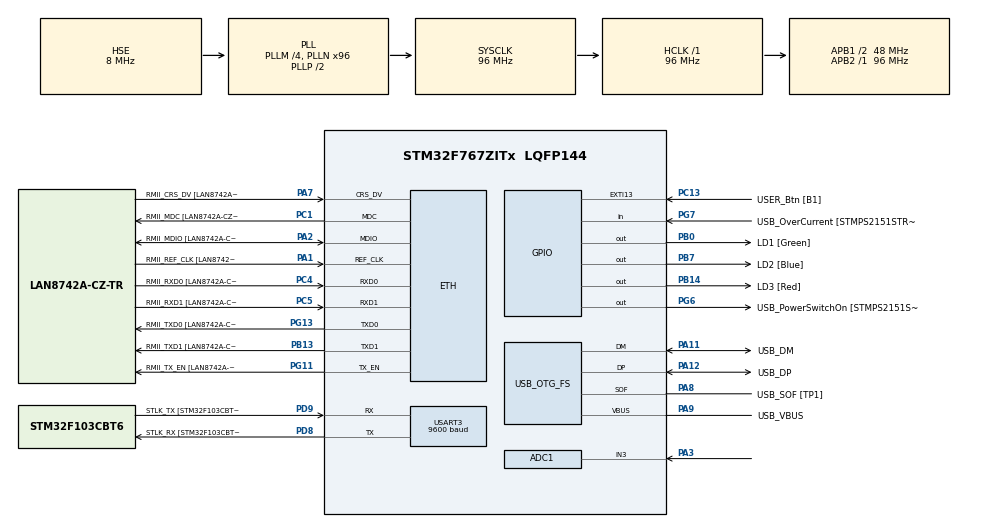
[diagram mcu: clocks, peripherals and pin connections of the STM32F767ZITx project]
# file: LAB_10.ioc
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ADC1.Channel-0\#ChannelRegularConversion=ADC_CHANNEL_3
ADC1.NbrOfConversionFlag=1
ADC1.Rank-0\#ChannelRegularConversion=1
ADC1.SamplingTime-0\#ChannelRegularConversion=ADC_SAMPLETIME_3CYCLES
ADC1.master=1
ARM.CMSIS.5.7.0.CMSISJjCORE=true
ARM.CMSIS.5.7.0.CMSISJjDSP=Library
ETH.MediaInterface=HAL_ETH_RMII_MODE
ETH.PHY_Name=LAN8742A_PHY_ADDRESS
ETH.PHY_Value=0
ETH.PhyAddress=0
Mcu.Family=STM32F7
Mcu.Name=STM32F767ZITx
Mcu.Package=LQFP144
NVIC.ADC_IRQn=true\:0\:0\:false\:false\:true\:true\:true\:true
NVIC.PriorityGroup=NVIC_PRIORITYGROUP_4
PA1.GPIO_Label=RMII_REF_CLK [LAN8742A-CZ-TR_REFCLK0]
PA1.Mode=RMII
PA1.Signal=ETH_REF_CLK
PA10.GPIO_Label=USB_ID
PA10.Signal=USB_OTG_FS_ID
PA11.GPIO_Label=USB_DM
PA11.Mode=Device_Only
PA11.Signal=USB_OTG_FS_DM
PA12.GPIO_Label=USB_DP
PA12.Mode=Device_Only
PA12.Signal=USB_OTG_FS_DP
PA13.GPIO_Label=TMS
PA13.Mode=Serial_Wire
PA13.Signal=SYS_JTMS-SWDIO
PA14.GPIO_Label=TCK
PA14.Mode=Serial_Wire
PA14.Signal=SYS_JTCK-SWCLK
PA2.GPIO_Label=RMII_MDIO [LAN8742A-CZ-TR_MDIO]
PA2.Mode=RMII
PA2.Signal=ETH_MDIO
PA3.Signal=ADCx_IN3
PA7.GPIO_Label=RMII_CRS_DV [LAN8742A-CZ-TR_CRS_DV]
PA7.Mode=RMII
PA7.Signal=ETH_CRS_DV
PA8.GPIO_Label=USB_SOF [TP1]
PA8.Mode=Activate_SOF_FS
PA8.Signal=USB_OTG_FS_SOF
PA9.GPIO_Label=USB_VBUS
PA9.Mode=Activate_VBUS
PA9.Signal=USB_OTG_FS_VBUS
PB0.GPIO_Label=LD1 [Green]
PB0.Signal=GPIO_Output
PB13.GPIO_Label=RMII_TXD1 [LAN8742A-CZ-TR_TXD1]
PB13.Mode=RMII
PB13.Signal=ETH_TXD1
PB14.GPIO_Label=LD3 [Red]
PB14.Signal=GPIO_Output
PB3.GPIO_Label=SWO
PB3.Signal=SYS_JTDO-SWO
PB7.GPIO_Label=LD2 [Blue]
PB7.Signal=GPIO_Output
PC1.GPIO_Label=RMII_MDC [LAN8742A-CZ-TR_MDC]
PC1.Mode=RMII
PC1.Signal=ETH_MDC
PC13.GPIO_Label=USER_Btn [B1]
PC13.Signal=GPXTI13
PC14/OSC32_IN.Mode=LSE-External-Oscillator
PC14/OSC32_IN.Signal=RCC_OSC32_IN
PC15/OSC32_OUT.Mode=LSE-External-Oscillator
PC15/OSC32_OUT.Signal=RCC_OSC32_OUT
PC4.GPIO_Label=RMII_RXD0 [LAN8742A-CZ-TR_RXD0]
PC4.Mode=RMII
PC4.Signal=ETH_RXD0
PC5.GPIO_Label=RMII_RXD1 [LAN8742A-CZ-TR_RXD1]
PC5.Mode=RMII
PC5.Signal=ETH_RXD1
PD8.GPIO_Label=STLK_RX [STM32F103CBT6_PA3]
PD8.Mode=Asynchronous
PD8.Signal=USART3_TX
PD9.GPIO_Label=STLK_TX [STM32F103CBT6_PA2]
PD9.Mode=Asynchronous
PD9.Signal=USART3_RX
PG11.GPIO_Label=RMII_TX_EN [LAN8742A-CZ-TR_TXEN]
PG11.Mode=RMII
PG11.Signal=ETH_TX_EN
PG13.GPIO_Label=RMII_TXD0 [LAN8742A-CZ-TR_TXD0]
PG13.Mode=RMII
PG13.Signal=ETH_TXD0
PG6.GPIO_Label=USB_PowerSwitchOn [STMPS2151STR_EN]
PG6.Signal=GPIO_Output
PG7.GPIO_Label=USB_OverCurrent [STMPS2151STR_FAULT]
PG7.Signal=GPIO_Input
PH0/OSC_IN.GPIO_Label=MCO [STM32F103CBT6_PA8]
PH0/OSC_IN.Mode=HSE-External-Clock-Source
PH0/OSC_IN.Signal=RCC_OSC_IN
PH1/OSC_OUT.Mode=HSE-External-Clock-Source
PH1/OSC_OUT.Signal=RCC_OSC_OUT
ProjectManager.HeapSize=0x200
ProjectManager.StackSize=0x400
ProjectManager.TargetToolchain=STM32CubeIDE
RCC.48MHZClocksFreq_Value=24000000
RCC.AHBFreq_Value=96000000
RCC.APB1CLKDivider=RCC_HCLK_DIV2
RCC.APB1Freq_Value=48000000
RCC.APB1TimFreq_Value=96000000
RCC.APB2Freq_Value=96000000
RCC.APB2TimFreq_Value=96000000
RCC.CortexFreq_Value=96000000
RCC.HCLKFreq_Value=96000000
RCC.HSE_VALUE=8000000
RCC.HSI_VALUE=16000000
RCC.PLLM=4
RCC.PLLMUL=RCC_PLL_MUL9
RCC.PLLN=96
RCC.PLLQ=4
RCC.PRESCALERUSB=RCC_USBCLKSOURCE_PLL_DIV1_5
RCC.SYSCLKFreq_VALUE=96000000
RCC.SYSCLKSource=RCC_SYSCLKSOURCE_PLLCLK
RCC.SYSCLKSourceVirtual=RCC_SYSCLKSOURCE_PLLCLK
RCC.USBFreq_Value=48000000
RCC.VCOOutputFreq_Value=192000000
SH.ADCx_IN3.0=ADC1_IN3,IN3
USART3.BaudRate=9600
USART3.VirtualMode-Asynchronous=VM_ASYNC
USB_OTG_FS.VirtualMode=Device_Only
VP_ARM.CMSIS_VS_CMSISJjCORE_5.4.0_5.7.0.Mode=CMSISJjCORE
VP_ARM.CMSIS_VS_CMSISJjDSP_1.8.0_5.7.0.Mode=CMSISJjDSP
board=NUCLEO-F767ZI

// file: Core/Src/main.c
/* USER CODE BEGIN Header */
/**
 ******************************************************************************
 * @file           : main.c
 * @brief          : Main program body
 ******************************************************************************
 * @attention
 *
 * Copyright (c) 2025 STMicroelectronics.
 * All rights reserved.
 *
 * This software is licensed under terms that can be found in the LICENSE file
 * in the root directory of this software component.
 * If no LICENSE file comes with this software, it is provided AS-IS.
 *
 ******************************************************************************
 */
/* USER CODE END Header */
#include "main.h"
#include "string.h"

/* USER CODE BEGIN Includes */

#include "arm_math.h"
#include <stdio.h>
#include <math.h>

#include "FIR_COEFFS.h"
#include "TEST_SIGNAL.h"
#include "REF_SIGNAL.h"
#include "A_mat.h"
#include "B_mat.h"
#include "C_mat.h"
#include "C_REF_mat.h"

/* USER CODE END Includes */

#if defined ( __ICCARM__ ) /*!< IAR Compiler */
#pragma location=0x2007c000
ETH_DMADescTypeDef  DMARxDscrTab[ETH_RX_DESC_CNT]; /* Ethernet Rx DMA Descriptors */
#pragma location=0x2007c0a0
ETH_DMADescTypeDef  DMATxDscrTab[ETH_TX_DESC_CNT]; /* Ethernet Tx DMA Descriptors */

#elif defined ( __CC_ARM )  /* MDK ARM Compiler */

__attribute__((at(0x2007c000))) ETH_DMADescTypeDef  DMARxDscrTab[ETH_RX_DESC_CNT]; /* Ethernet Rx DMA Descriptors */
__attribute__((at(0x2007c0a0))) ETH_DMADescTypeDef  DMATxDscrTab[ETH_TX_DESC_CNT]; /* Ethernet Tx DMA Descriptors */

#elif defined ( __GNUC__ ) /* GNU Compiler */

ETH_DMADescTypeDef DMARxDscrTab[ETH_RX_DESC_CNT] __attribute__((section(".RxDecripSection"))); /* Ethernet Rx DMA Descriptors */
ETH_DMADescTypeDef DMATxDscrTab[ETH_TX_DESC_CNT] __attribute__((section(".TxDecripSection"))); /* Ethernet Tx DMA Descriptors */
#endif

ETH_TxPacketConfig TxConfig;

ADC_HandleTypeDef hadc1;
DMA_HandleTypeDef hdma_adc1;

ETH_HandleTypeDef heth;

UART_HandleTypeDef huart3;

PCD_HandleTypeDef hpcd_USB_OTG_FS;

/* USER CODE BEGIN PV */
volatile float32_t g_adc_raw = 0.0f;
volatile float32_t g_adc_filtered = 0.0f;
uint32_t adc_raw = 0;
uint32_t adc_mV = 0;
/* USER CODE END PV */

void SystemClock_Config(void);
static void MX_GPIO_Init(void);
static void MX_DMA_Init(void);
static void MX_ETH_Init(void);
static void MX_USART3_UART_Init(void);
static void MX_USB_OTG_FS_PCD_Init(void);
static void MX_ADC1_Init(void);

/* USER CODE BEGIN 0 */

#define ZADANIE 3

#define BLOCK_SIZE 32
#define NUM_TAPS_FIR 55 // As estmated or defined in FIR_COEFFS (length of coeffs)

float32_t RMSE(const float32_t *y, const float32_t *yref, const uint32_t len) {
	float32_t err[len];
	arm_sub_f32(yref, y, err, len);
	float32_t rmse;
	arm_rms_f32(err, len, &rmse);
	return rmse;
}

void UART_SendFloatArrayCSV(UART_HandleTypeDef *huart, float32_t *data, uint32_t length) {
	HAL_UART_Transmit(huart, (uint8_t*) "CSV data:\r\n", 12, HAL_MAX_DELAY);

	for (uint32_t i = 0; i < length; i++) {
		char buf[32];
		float32_t val = data[i];

		// 1. Sprawdź znak i pracuj na wartości bezwzględnej
		char sign = (val < 0) ? '-' : ' ';
		if (val < 0)
			val = -val;

		int whole = (int) val;
		int frac = (int) ((val - whole) * 1000000);

		// Zabezpieczenie przed zaokrągleniami
		if (frac < 0)
			frac = 0;

		// 2. Formatuj z uwzględnieniem znaku ręcznie (używamy %c dla znaku)
		if (sign == '-') {
			sprintf(buf, "-%d.%06d", whole, frac);
		} else {
			sprintf(buf, "%d.%06d", whole, frac);
		}

		if (i < length - 1) {
			strcat(buf, ",\r\n");
		} else {
			strcat(buf, "\r\n");
		}

		HAL_UART_Transmit(huart, (uint8_t*) buf, strlen(buf), HAL_MAX_DELAY);
	}
}
/* USER CODE END 0 */

int main(void) {

	/* MCU Configuration--------------------------------------------------------*/

	/* Reset of all peripherals, Initializes the Flash interface and the Systick. */
	HAL_Init();

	/* Configure the system clock */
	SystemClock_Config();

	/* Initialize all configured peripherals */
	MX_GPIO_Init();
	MX_DMA_Init();
	MX_ETH_Init();
	MX_USART3_UART_Init();
	MX_USB_OTG_FS_PCD_Init();
	MX_ADC1_Init();
	/* USER CODE BEGIN 2 */

#if ZADANIE == 1
	//	inicjacja macierzy z wygenerowanych matlabowo
	arm_mat_init_f32(&A, A_ROWS, A_COLS, A_DATA);
	arm_mat_init_f32(&B, B_ROWS, B_COLS, B_DATA);
	arm_mat_init_f32(&C, A_ROWS, B_COLS, C_DATA);

	//	obliczanie wyniku
	arm_mat_mult_f32(&A, &B, &C);

	//	sprawdzenie wyniku
	float32_t rmse = RMSE(C_DATA, C_REF_DATA, A_ROWS * B_COLS);

	char msg[64];

	int whole = (int) rmse;
	int frac = (int) ((rmse - whole) * 1000000);

	if (rmse < 1e-6f) {
		sprintf(msg, "test passed! rmse = %d.%06d\r\n", whole, frac);
	} else {
		sprintf(msg, "test failed! rmse = %d.%06d\r\n", whole, frac);
	}

	HAL_UART_Transmit(&huart3, (uint8_t*) msg, strlen(msg), HAL_MAX_DELAY);

#endif

#if ZADANIE == 2

	char hello[] = "UART OK\r\n";
	HAL_UART_Transmit(&huart3, (uint8_t*) hello, strlen(hello), HAL_MAX_DELAY);
	HAL_Delay(100);

	static float32_t firState[NUM_TAPS + BLOCK_SIZE - 1];
	static float32_t y_test[SIGNAL_LENGTH];

	arm_fir_instance_f32 S;
	arm_fir_init_f32(&S, NUM_TAPS, FIR_COEFFS, firState, BLOCK_SIZE);

	for (uint32_t i = 0; i < SIGNAL_LENGTH; i += BLOCK_SIZE) {
		uint32_t blkSize = BLOCK_SIZE;
		if (i + blkSize > SIGNAL_LENGTH)
			blkSize = SIGNAL_LENGTH - i;
		arm_fir_f32(&S, &TEST_SIGNAL[i], &y_test[i], blkSize);
	}

	float32_t rmse_fir = RMSE(y_test, REF_SIGNAL, SIGNAL_LENGTH);

	char msg[64];
	int whole_fir = (int) rmse_fir;
	int frac_fir = (int) ((rmse_fir - whole_fir) * 1000000);

	if (rmse_fir < 1e-6f) { // kryterium sukcesu
		sprintf(msg, "FIR test passed! rmse = %d.%06d\r\n", whole_fir, frac_fir);
	} else {
		sprintf(msg, "FIR test failed! rmse = %d.%06d\r\n", whole_fir, frac_fir);
	}

	HAL_UART_Transmit(&huart3, (uint8_t*) msg, strlen(msg), HAL_MAX_DELAY);

	UART_SendFloatArrayCSV(&huart3, y_test, SIGNAL_LENGTH);

#endif

#if ZADANIE == 3

	// Inicjalizacja filtru FIR (wykorzystujemy współczynniki z Zadania 2 - dolnoprzepustowy)
	// Zakładamy próbkowanie ok. 200Hz (HAL_Delay(5)) -> Cutoff ok. 10Hz (przy Fp=0.1 norm, Fs~200)
	// W zadaniu jest, że filtr FIR filtruje próbka po próbce.
	// Rozmiar stanu dla BLOCK_SIZE=1 to: numTaps + blockSize - 1 = numTaps
	static float32_t firStateADC[NUM_TAPS];
	arm_fir_instance_f32 S_ADC;
	arm_fir_init_f32(&S_ADC, NUM_TAPS, FIR_COEFFS, firStateADC, 1);

	// HAL_ADC_Start(&hadc1); // Przeniesione do pętli dla trybu One-Shot

#endif

	/* USER CODE END 2 */

	/* Infinite loop */
	/* USER CODE BEGIN WHILE */

	while (1) {
#if ZADANIE == 3
		HAL_ADC_Start(&hadc1);

		HAL_ADC_PollForConversion(&hadc1, HAL_MAX_DELAY);

		adc_raw = HAL_ADC_GetValue(&hadc1);
		adc_mV = (adc_raw * 3300) / 4095;

		g_adc_raw = (float32_t)adc_raw;

		// Filtracja próbka po próbce
		arm_fir_f32(&S_ADC, (float32_t*)&g_adc_raw, (float32_t*)&g_adc_filtered, 1);

		HAL_Delay(5);
#endif
    /* USER CODE END WHILE */

	}
}

void SystemClock_Config(void) {
	RCC_OscInitTypeDef RCC_OscInitStruct = { 0 };
	RCC_ClkInitTypeDef RCC_ClkInitStruct = { 0 };

	/** Configure LSE Drive Capability
	 */
	HAL_PWR_EnableBkUpAccess();

	/** Configure the main internal regulator output voltage
	 */
	__HAL_RCC_PWR_CLK_ENABLE();
	__HAL_PWR_VOLTAGESCALING_CONFIG(PWR_REGULATOR_VOLTAGE_SCALE3);

	/** Initializes the RCC Oscillators according to the specified parameters
	 * in the RCC_OscInitTypeDef structure.
	 */
	RCC_OscInitStruct.OscillatorType = RCC_OSCILLATORTYPE_HSE;
	RCC_OscInitStruct.HSEState = RCC_HSE_BYPASS;
	RCC_OscInitStruct.PLL.PLLState = RCC_PLL_ON;
	RCC_OscInitStruct.PLL.PLLSource = RCC_PLLSOURCE_HSE;
	RCC_OscInitStruct.PLL.PLLM = 4;
	RCC_OscInitStruct.PLL.PLLN = 96;
	RCC_OscInitStruct.PLL.PLLP = RCC_PLLP_DIV2;
	RCC_OscInitStruct.PLL.PLLQ = 4;
	RCC_OscInitStruct.PLL.PLLR = 2;
	if (HAL_RCC_OscConfig(&RCC_OscInitStruct) != HAL_OK) {
		Error_Handler();
	}

	/** Activate the Over-Drive mode
	 */
	if (HAL_PWREx_EnableOverDrive() != HAL_OK) {
		Error_Handler();
	}

	/** Initializes the CPU, AHB and APB buses clocks
	 */
	RCC_ClkInitStruct.ClockType = RCC_CLOCKTYPE_HCLK | RCC_CLOCKTYPE_SYSCLK | RCC_CLOCKTYPE_PCLK1 | RCC_CLOCKTYPE_PCLK2;
	RCC_ClkInitStruct.SYSCLKSource = RCC_SYSCLKSOURCE_PLLCLK;
	RCC_ClkInitStruct.AHBCLKDivider = RCC_SYSCLK_DIV1;
	RCC_ClkInitStruct.APB1CLKDivider = RCC_HCLK_DIV2;
	RCC_ClkInitStruct.APB2CLKDivider = RCC_HCLK_DIV1;

	if (HAL_RCC_ClockConfig(&RCC_ClkInitStruct, FLASH_LATENCY_3) != HAL_OK) {
		Error_Handler();
	}
}

static void MX_ADC1_Init(void) {

	ADC_ChannelConfTypeDef sConfig = { 0 };

	/** Configure the global features of the ADC (Clock, Resolution, Data Alignment and number of conversion)
	 */
	hadc1.Instance = ADC1;
	hadc1.Init.ClockPrescaler = ADC_CLOCK_SYNC_PCLK_DIV4;
	hadc1.Init.Resolution = ADC_RESOLUTION_12B;
	hadc1.Init.ScanConvMode = ADC_SCAN_DISABLE;
	hadc1.Init.ContinuousConvMode = DISABLE;
	hadc1.Init.DiscontinuousConvMode = DISABLE;
	hadc1.Init.ExternalTrigConvEdge = ADC_EXTERNALTRIGCONVEDGE_NONE;
	hadc1.Init.ExternalTrigConv = ADC_SOFTWARE_START;
	hadc1.Init.DataAlign = ADC_DATAALIGN_RIGHT;
	hadc1.Init.NbrOfConversion = 1;
	hadc1.Init.DMAContinuousRequests = DISABLE;
	hadc1.Init.EOCSelection = ADC_EOC_SINGLE_CONV;
	if (HAL_ADC_Init(&hadc1) != HAL_OK) {
		Error_Handler();
	}

	/** Configure for the selected ADC regular channel its corresponding rank in the sequencer and its sample time.
	 */
	sConfig.Channel = ADC_CHANNEL_3;
	sConfig.Rank = ADC_REGULAR_RANK_1;
	sConfig.SamplingTime = ADC_SAMPLETIME_480CYCLES;
	if (HAL_ADC_ConfigChannel(&hadc1, &sConfig) != HAL_OK) {
		Error_Handler();
	}

}

static void MX_ETH_Init(void) {

	static uint8_t MACAddr[6];

	heth.Instance = ETH;
	MACAddr[0] = 0x00;
	MACAddr[1] = 0x80;
	MACAddr[2] = 0xE1;
	MACAddr[3] = 0x00;
	MACAddr[4] = 0x00;
	MACAddr[5] = 0x00;
	heth.Init.MACAddr = &MACAddr[0];
	heth.Init.MediaInterface = HAL_ETH_RMII_MODE;
	heth.Init.TxDesc = DMATxDscrTab;
	heth.Init.RxDesc = DMARxDscrTab;
	heth.Init.RxBuffLen = 1524;

	if (HAL_ETH_Init(&heth) != HAL_OK) {
		Error_Handler();
	}

	memset(&TxConfig, 0, sizeof(ETH_TxPacketConfig));
	TxConfig.Attributes = ETH_TX_PACKETS_FEATURES_CSUM | ETH_TX_PACKETS_FEATURES_CRCPAD;
	TxConfig.ChecksumCtrl = ETH_CHECKSUM_IPHDR_PAYLOAD_INSERT_PHDR_CALC;
	TxConfig.CRCPadCtrl = ETH_CRC_PAD_INSERT;

}

static void MX_USART3_UART_Init(void) {

	huart3.Instance = USART3;
	huart3.Init.BaudRate = 9600;
	huart3.Init.WordLength = UART_WORDLENGTH_8B;
	huart3.Init.StopBits = UART_STOPBITS_1;
	huart3.Init.Parity = UART_PARITY_NONE;
	huart3.Init.Mode = UART_MODE_TX_RX;
	huart3.Init.HwFlowCtl = UART_HWCONTROL_NONE;
	huart3.Init.OverSampling = UART_OVERSAMPLING_16;
	huart3.Init.OneBitSampling = UART_ONE_BIT_SAMPLE_DISABLE;
	huart3.AdvancedInit.AdvFeatureInit = UART_ADVFEATURE_NO_INIT;
	if (HAL_UART_Init(&huart3) != HAL_OK) {
		Error_Handler();
	}

}

static void MX_USB_OTG_FS_PCD_Init(void) {

	hpcd_USB_OTG_FS.Instance = USB_OTG_FS;
	hpcd_USB_OTG_FS.Init.dev_endpoints = 6;
	hpcd_USB_OTG_FS.Init.speed = PCD_SPEED_FULL;
	hpcd_USB_OTG_FS.Init.dma_enable = DISABLE;
	hpcd_USB_OTG_FS.Init.phy_itface = PCD_PHY_EMBEDDED;
	hpcd_USB_OTG_FS.Init.Sof_enable = ENABLE;
	hpcd_USB_OTG_FS.Init.low_power_enable = DISABLE;
	hpcd_USB_OTG_FS.Init.lpm_enable = DISABLE;
	hpcd_USB_OTG_FS.Init.vbus_sensing_enable = ENABLE;
	hpcd_USB_OTG_FS.Init.use_dedicated_ep1 = DISABLE;
	if (HAL_PCD_Init(&hpcd_USB_OTG_FS) != HAL_OK) {
		Error_Handler();
	}

}

static void MX_DMA_Init(void) {

	/* DMA controller clock enable */
	__HAL_RCC_DMA2_CLK_ENABLE();

	/* DMA interrupt init */
	/* DMA2_Stream0_IRQn interrupt configuration */
	HAL_NVIC_SetPriority(DMA2_Stream0_IRQn, 0, 0);
	HAL_NVIC_EnableIRQ(DMA2_Stream0_IRQn);

}

static void MX_GPIO_Init(void) {
	GPIO_InitTypeDef GPIO_InitStruct = { 0 };

	/* GPIO Ports Clock Enable */
	__HAL_RCC_GPIOC_CLK_ENABLE();
	__HAL_RCC_GPIOH_CLK_ENABLE();
	__HAL_RCC_GPIOA_CLK_ENABLE();
	__HAL_RCC_GPIOB_CLK_ENABLE();
	__HAL_RCC_GPIOD_CLK_ENABLE();
	__HAL_RCC_GPIOG_CLK_ENABLE();

	/*Configure GPIO pin Output Level */
	HAL_GPIO_WritePin(GPIOB, LD1_Pin | LD3_Pin | LD2_Pin, GPIO_PIN_RESET);

	/*Configure GPIO pin Output Level */
	HAL_GPIO_WritePin(USB_PowerSwitchOn_GPIO_Port, USB_PowerSwitchOn_Pin, GPIO_PIN_RESET);

	/*Configure GPIO pin : USER_Btn_Pin */
	GPIO_InitStruct.Pin = USER_Btn_Pin;
	GPIO_InitStruct.Mode = GPIO_MODE_INPUT;
	GPIO_InitStruct.Pull = GPIO_NOPULL;
	HAL_GPIO_Init(USER_Btn_GPIO_Port, &GPIO_InitStruct);

	/*Configure GPIO pins : LD1_Pin LD3_Pin LD2_Pin */
	GPIO_InitStruct.Pin = LD1_Pin | LD3_Pin | LD2_Pin;
	GPIO_InitStruct.Mode = GPIO_MODE_OUTPUT_PP;
	GPIO_InitStruct.Pull = GPIO_NOPULL;
	GPIO_InitStruct.Speed = GPIO_SPEED_FREQ_LOW;
	HAL_GPIO_Init(GPIOB, &GPIO_InitStruct);

	/*Configure GPIO pin : USB_PowerSwitchOn_Pin */
	GPIO_InitStruct.Pin = USB_PowerSwitchOn_Pin;
	GPIO_InitStruct.Mode = GPIO_MODE_OUTPUT_PP;
	GPIO_InitStruct.Pull = GPIO_NOPULL;
	GPIO_InitStruct.Speed = GPIO_SPEED_FREQ_LOW;
	HAL_GPIO_Init(USB_PowerSwitchOn_GPIO_Port, &GPIO_InitStruct);

	/*Configure GPIO pin : USB_OverCurrent_Pin */
	GPIO_InitStruct.Pin = USB_OverCurrent_Pin;
	GPIO_InitStruct.Mode = GPIO_MODE_INPUT;
	GPIO_InitStruct.Pull = GPIO_NOPULL;
	HAL_GPIO_Init(USB_OverCurrent_GPIO_Port, &GPIO_InitStruct);

}

void Error_Handler(void) {
	__disable_irq();
	while (1) {
	}
}
